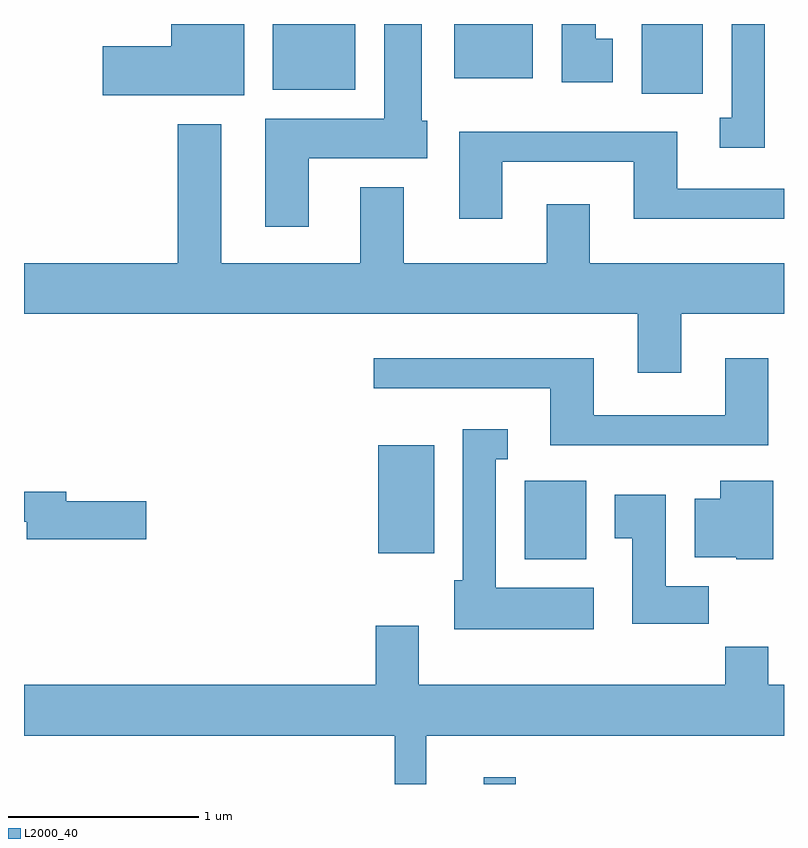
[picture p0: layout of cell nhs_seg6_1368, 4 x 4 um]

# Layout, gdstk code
import gdstk
lib = gdstk.Library(unit=1e-6, precision=1e-09)
def R(c, l, rs):  # rectangles x0, y0, x1, y1
    for r in rs: c.add(gdstk.rectangle(r[:2], r[2:], *l))
def P(c, l, *ps):  # polygons
    for p in ps: c.add(gdstk.Polygon(p, *l))
L2000_40 = (2000, 40)

nhs_seg6_1368 = lib.new_cell('nhs_seg6_1368')
R(nhs_seg6_1368, L2000_40, [(228.031,1614.162,228.199,1614.198), (228.246,1615.346,228.569,1615.759), (227.476,1615.376,227.769,1615.944), (228.861,1617.796,229.184,1618.162), (226.921,1617.816,227.354,1618.162), (227.876,1617.876,228.289,1618.162)])
P(nhs_seg6_1368, L2000_40, [(229.509,1618.162),(229.336,1618.162),(229.336,1617.669),(229.273,1617.669),(229.273,1617.511),(229.509,1617.511)],
  [(227.109,1617.456),(227.734,1617.456),(227.734,1617.654),(227.704,1617.654),(227.704,1618.162),(227.506,1618.162),(227.506,1617.664),(226.881,1617.664),(226.881,1617.096),(227.109,1617.096)],
  [(226.769,1618.162),(226.386,1618.162),(226.386,1618.044),(226.026,1618.044),(226.026,1617.786),(226.769,1617.786)],
  [(228.709,1618.084),(228.619,1618.084),(228.619,1618.162),(228.441,1618.162),(228.441,1617.856),(228.709,1617.856)],
  [(229.069,1616.636),(229.611,1616.636),(229.611,1616.904),(228.589,1616.904),(228.589,1617.214),(228.361,1617.214),(228.361,1616.904),(227.609,1616.904),(227.609,1617.304),(227.381,1617.304),(227.381,1616.904),(226.649,1616.904),(226.649,1617.634),(226.421,1617.634),(226.421,1616.904),(225.611,1616.904),(225.611,1616.636),(228.841,1616.636),(228.841,1616.326),(229.069,1616.326)],
  [(228.129,1617.436),(228.821,1617.436),(228.821,1617.136),(229.611,1617.136),(229.611,1617.294),(229.049,1617.294),(229.049,1617.594),(227.901,1617.594),(227.901,1617.136),(228.129,1617.136)],
  [(229.529,1616.404),(229.301,1616.404),(229.301,1616.104),(228.609,1616.104),(228.609,1616.404),(227.453,1616.404),(227.453,1616.246),(228.381,1616.246),(228.381,1615.946),(229.529,1615.946)],
  [(228.609,1615.194),(228.094,1615.194),(228.094,1615.871),(228.158,1615.871),(228.158,1616.029),(227.921,1616.029),(227.921,1615.234),(227.876,1615.234),(227.876,1614.976),(228.609,1614.976)],
  [(229.554,1615.759),(229.276,1615.759),(229.276,1615.664),(229.141,1615.664),(229.141,1615.356),(229.36,1615.356),(229.36,1615.346),(229.554,1615.346)],
  [(226.254,1615.649),(225.834,1615.649),(225.834,1615.699),(225.611,1615.699),(225.611,1615.541),(225.626,1615.541),(225.626,1615.451),(226.254,1615.451)],
  [(229.214,1615.204),(228.989,1615.204),(228.989,1615.684),(228.721,1615.684),(228.721,1615.456),(228.811,1615.456),(228.811,1615.006),(229.214,1615.006)],
  [(227.729,1614.416),(229.611,1614.416),(229.611,1614.684),(229.529,1614.684),(229.529,1614.884),(229.301,1614.884),(229.301,1614.684),(227.689,1614.684),(227.689,1614.994),(227.461,1614.994),(227.461,1614.684),(225.611,1614.684),(225.611,1614.416),(227.561,1614.416),(227.561,1614.162),(227.729,1614.162)])

lib.write_gds('nhs_seg6_1368.gds')
